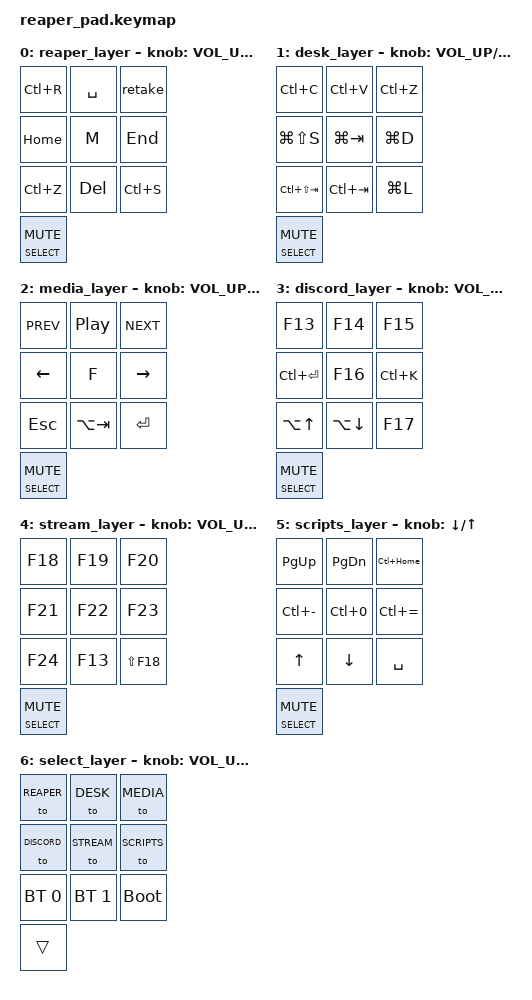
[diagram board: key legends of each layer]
/*
 * Reaper Macro Pad - loadouts
 *
 * SWITCH LOADOUT: hold the knob down + press a key
 *
 *   [ 1 REAPER ] [ 2 DESK    ] [ 3 MEDIA   ]
 *   [ 4 DISCORD] [ 5 STREAM  ] [ 6 SCRIPTS ]
 *   [ 7 BT: PC ] [ 8 BT: 2nd ] [ 9 FLASH   ]   <- 7/8 pick which paired device it talks to,
 *                                                 9 = firmware update mode (see bottom)
 *
 * Tap the knob = mute (every loadout). Turn the knob = volume (except SCRIPTS = scroll).
 * The pad always starts in REAPER when it powers on.
 */

#include <behaviors.dtsi>
#include <dt-bindings/zmk/keys.h>
#include <dt-bindings/zmk/bt.h>

#define REAPER  0
#define DESK    1
#define MEDIA   2
#define DISCORD 3
#define STREAM  4
#define SCRIPTS 5
#define SELECT  6

/ {
    behaviors {
        /* knob press: tap = mute, hold = loadout picker */
        knob: knob_hold_tap {
            compatible = "zmk,behavior-hold-tap";
            #binding-cells = <2>;
            flavor = "hold-preferred";
            tapping-term-ms = <250>;
            bindings = <&mo>, <&kp>;
        };
    };

    macros {
        /* RETAKE = undo the last take, then record again */
        retake: retake {
            compatible = "zmk,behavior-macro";
            #binding-cells = <0>;
            wait-ms = <40>;
            tap-ms = <40>;
            bindings = <&kp LC(Z) &kp LC(R)>;
        };
    };

    keymap {
        compatible = "zmk,keymap";

        /* 1 - REAPER (booth)
         *   REC       PLAY/STOP   RETAKE
         *   START     MARKER      END
         *   UNDO      DELETE      SAVE
         */
        reaper_layer {
            bindings = <
                &kp LC(R)   &kp SPACE    &retake
                &kp HOME    &kp M        &kp END
                &kp LC(Z)   &kp DELETE   &kp LC(S)
                &knob SELECT C_MUTE
            >;
            sensor-bindings = <&inc_dec_kp C_VOL_UP C_VOL_DN>;
        };

        /* 2 - DESK (everyday Windows)
         *   COPY          PASTE          UNDO
         *   SNIP          TASK VIEW      SHOW DESKTOP
         *   PREV TAB      NEXT TAB       LOCK PC
         */
        desk_layer {
            bindings = <
                &kp LC(C)         &kp LC(V)        &kp LC(Z)
                &kp LG(LS(S))     &kp LG(TAB)      &kp LG(D)
                &kp LC(LS(TAB))   &kp LC(TAB)      &kp LG(L)
                &knob SELECT C_MUTE
            >;
            sensor-bindings = <&inc_dec_kp C_VOL_UP C_VOL_DN>;
        };

        /* 3 - MEDIA (from bed - works with PC, phone or TV over Bluetooth)
         *   PREV TRACK    PLAY/PAUSE     NEXT TRACK
         *   BACK 5-10s    FULLSCREEN     FORWARD 5-10s
         *   ESC           SWITCH APP     ENTER
         */
        media_layer {
            bindings = <
                &kp C_PREV   &kp C_PP       &kp C_NEXT
                &kp LEFT     &kp F          &kp RIGHT
                &kp ESC      &kp LA(TAB)    &kp RET
                &knob SELECT C_MUTE
            >;
            sensor-bindings = <&inc_dec_kp C_VOL_UP C_VOL_DN>;
        };

        /* 4 - DISCORD  (set F13-F17 in Discord > Settings > Keybinds so they work even when Discord isn't focused)
         *   MUTE MIC (F13)     DEAFEN (F14)        PUSH-TO-TALK (F15, hold)
         *   ANSWER CALL        DISCONNECT (F16)    QUICK SWITCHER
         *   PREV CHANNEL       NEXT CHANNEL        TOGGLE CAMERA (F17)
         */
        discord_layer {
            bindings = <
                &kp F13       &kp F14        &kp F15
                &kp LC(RET)   &kp F16        &kp LC(K)
                &kp LA(UP)    &kp LA(DOWN)   &kp F17
                &knob SELECT C_MUTE
            >;
            sensor-bindings = <&inc_dec_kp C_VOL_UP C_VOL_DN>;
        };

        /* 5 - STREAM (set these as hotkeys in OBS > Settings > Hotkeys)
         *   START/STOP STREAM (F18)   START/STOP RECORD (F19)   MUTE MIC (F20)
         *   SCENE 1 (F21)             SCENE 2 (F22)             SCENE 3 (F23)
         *   SAVE REPLAY (F24)         DISCORD MUTE (F13)        SCREENSHOT (Shift+F18)
         */
        stream_layer {
            bindings = <
                &kp F18    &kp F19    &kp F20
                &kp F21    &kp F22    &kp F23
                &kp F24    &kp F13    &kp LS(F18)
                &knob SELECT C_MUTE
            >;
            sensor-bindings = <&inc_dec_kp C_VOL_UP C_VOL_DN>;
        };

        /* 6 - SCRIPTS (reading lines in the booth - PDFs, docs, teleprompter pages)
         *   PAGE UP       PAGE DOWN      TOP OF PAGE
         *   ZOOM OUT      ZOOM RESET     ZOOM IN
         *   LINE UP       LINE DOWN      SPACE (play/pause in most players)
         *   knob = scroll up/down
         */
        scripts_layer {
            bindings = <
                &kp PG_UP      &kp PG_DN      &kp LC(HOME)
                &kp LC(MINUS)  &kp LC(N0)     &kp LC(EQUAL)
                &kp UP         &kp DOWN       &kp SPACE
                &knob SELECT C_MUTE
            >;
            sensor-bindings = <&inc_dec_kp DOWN UP>;
        };

        /* PICKER - active only while the knob is held */
        select_layer {
            bindings = <
                &to REAPER     &to DESK       &to MEDIA
                &to DISCORD    &to STREAM     &to SCRIPTS
                &bt BT_SEL 0   &bt BT_SEL 1   &bootloader
                &trans
            >;
            sensor-bindings = <&inc_dec_kp C_VOL_UP C_VOL_DN>;
        };
    };
};
